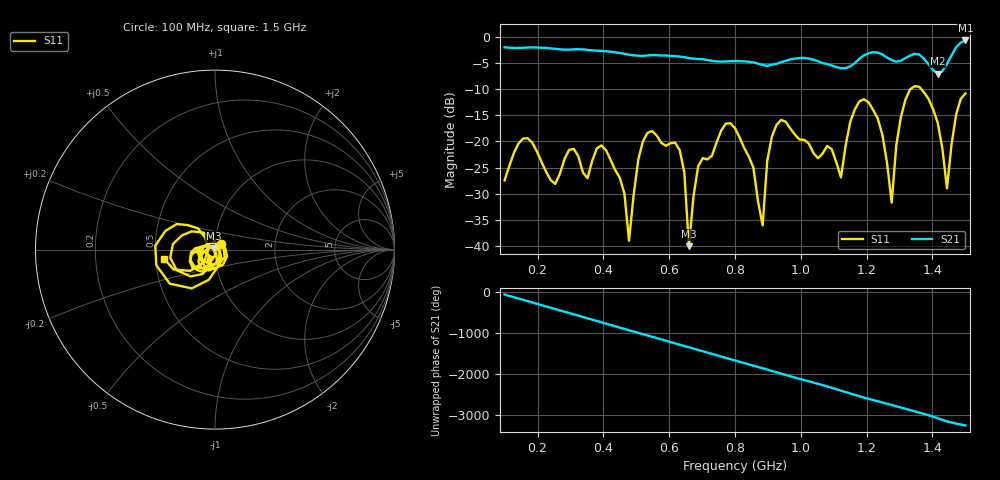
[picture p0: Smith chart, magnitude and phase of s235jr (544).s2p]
! NanoVNA-App
! Date: 2025-09-25 15:08:24
! Start: 100MHz Stop: 1,5GHz Points: 101
! S-Parameter data: F S11 S21 S12 S22
# Hz S RI R 50
!  Frequency  S11_Real  S11_Imag  S21_Real  S21_Imag  S12_Real  S12_Imag  S22_Real  S22_Imag
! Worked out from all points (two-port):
!   101 points, 100 MHz to 1.5 GHz, reference 50 ohm
!   highest |S21| = -0.65 dB at 1.5 GHz (marker M1); lowest = -7.0 dB at 1.416 GHz (marker M2)
!   |S21| within 3 dB of the highest: start of sweep to 614.9 MHz; 1.189 GHz to 1.255 GHz (66.54 MHz wide, 5.45 % of centre) (the widest 2 of 4)
!   lowest |S11| = -40.1 dB at 660 MHz (marker M3), VSWR 1.02, Z = 49.3 + j0.65 ohm
!   |S11| at or under -10 dB: start of sweep to 1.332 GHz; 1.366 GHz to end of sweep
!   S12 and S22 are empty: the file has one direction only
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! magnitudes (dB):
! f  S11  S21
! 100 MHz  -27.5  -2.0
! 156 MHz  -19.5  -2.0
! 338 MHz  -26.0  -2.4
! 408 MHz  -21.7  -2.7
! 478 MHz  -39.0  -3.4
! 520 MHz  -20.0  -3.6
! 576 MHz  -20.3  -3.5
! 632 MHz  -21.7  -3.7
! 660 MHz  -40.1  -4.0
! 688 MHz  -24.8  -4.2
! 800 MHz  -17.5  -4.6
! 884 MHz  -36.1  -5.3
! 926 MHz  -16.8  -5.1
! 1.038 GHz  -22.2  -4.3
! 1.122 GHz  -26.9  -6.0
! 1.192 GHz  -11.9  -3.5
! 1.248 GHz  -18.8  -3.3
! 1.276 GHz  -31.7  -4.4
! 1.332 GHz  -10.0  -3.5
! 1.416 GHz  -16.4  -7.0
! 1.444 GHz  -29.0  -5.2
! 1.5 GHz  -10.8  -0.7
